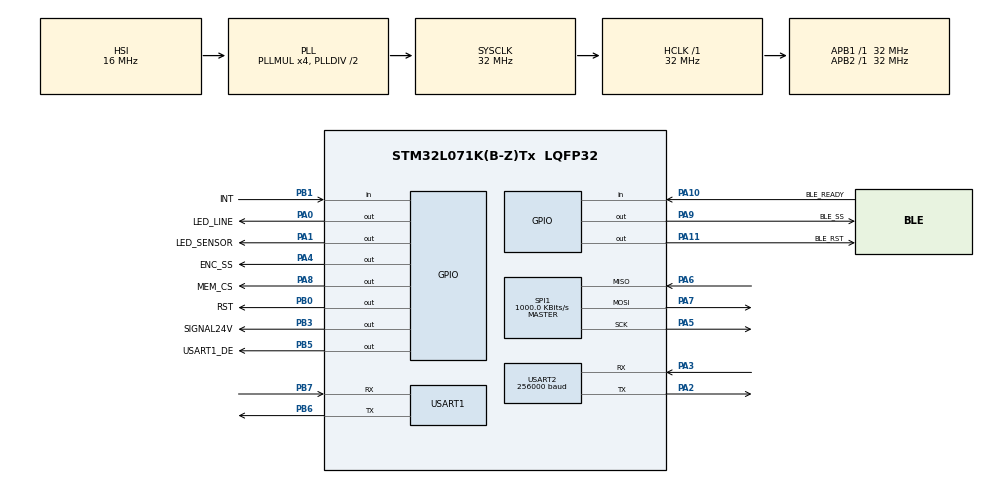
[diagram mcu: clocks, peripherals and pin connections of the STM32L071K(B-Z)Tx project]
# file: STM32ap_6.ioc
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ADC.ContinuousConvMode=ENABLE
ADC.DMAContinuousRequests=DISABLE
ADC.DiscontinuousConvMode=DISABLE
ADC.EOCSelection=ADC_EOC_SEQ_CONV
ADC.LowPowerAutoPowerOff=DISABLE
ADC.LowPowerAutoWait=DISABLE
ADC.LowPowerFrequencyMode=DISABLE
ADC.SamplingTime=ADC_SAMPLETIME_39CYCLES_5
ADC.ScanConvMode=ADC_SCAN_DIRECTION_FORWARD
IWDG.Prescaler=IWDG_PRESCALER_64
IWDG.Reload=3000
IWDG.Window=3000
Mcu.Family=STM32L0
Mcu.Name=STM32L071K(B-Z)Tx
Mcu.Package=LQFP32
NVIC.TIM2_IRQn=true\:0\:0\:false\:false\:true\:true\:true
NVIC.TIM6_IRQn=true\:0\:0\:false\:false\:true\:true\:true
NVIC.USART2_IRQn=true\:3\:0\:true\:false\:true\:true\:true
PA0.GPIO_Label=LED_LINE
PA0.Signal=GPIO_Output
PA1.GPIO_Label=LED_SENSOR
PA1.Signal=GPIO_Output
PA10.GPIO_Label=BLE_READY
PA10.GPIO_PuPd=GPIO_PULLUP
PA10.Signal=GPIO_Input
PA11.GPIO_Label=BLE_RST
PA11.Signal=GPIO_Output
PA13.Mode=Serial_Wire
PA13.Signal=SYS_SWDIO
PA14.Mode=Serial_Wire
PA14.Signal=SYS_SWCLK
PA2.Mode=Asynchronous
PA2.Signal=USART2_TX
PA3.Mode=Asynchronous
PA3.Signal=USART2_RX
PA4.GPIO_Label=ENC_SS
PA4.GPIO_PuPd=GPIO_PULLUP
PA4.PinState=GPIO_PIN_SET
PA4.Signal=GPIO_Output
PA5.Mode=Full_Duplex_Master
PA5.Signal=SPI1_SCK
PA6.Mode=Full_Duplex_Master
PA6.Signal=SPI1_MISO
PA7.Mode=Full_Duplex_Master
PA7.Signal=SPI1_MOSI
PA8.GPIO_Label=MEM_CS
PA8.GPIO_ModeDefaultOutputPP=GPIO_MODE_OUTPUT_PP
PA8.GPIO_PuPd=GPIO_PULLUP
PA8.PinState=GPIO_PIN_SET
PA8.Signal=GPIO_Output
PA9.GPIO_Label=BLE_SS
PA9.GPIO_PuPd=GPIO_PULLUP
PA9.PinState=GPIO_PIN_SET
PA9.Signal=GPIO_Output
PB0.GPIO_Label=RST
PB0.Signal=GPIO_Output
PB1.GPIO_Label=INT
PB1.Signal=GPIO_Input
PB3.GPIO_Label=SIGNAL24V
PB3.Signal=GPIO_Output
PB5.GPIO_Label=USART1_DE
PB5.Signal=GPIO_Output
PB6.Mode=Asynchronous
PB6.Signal=USART1_TX
PB7.Mode=Asynchronous
PB7.Signal=USART1_RX
ProjectManager.HeapSize=0x200
ProjectManager.StackSize=0x400
ProjectManager.TargetToolchain=Makefile
RCC.AHBFreq_Value=32000000
RCC.APB1Freq_Value=32000000
RCC.APB1TimFreq_Value=32000000
RCC.APB2Freq_Value=32000000
RCC.APB2TimFreq_Value=32000000
RCC.HCLKFreq_Value=32000000
RCC.HSI16_VALUE=16000000
RCC.HSI_VALUE=16000000
RCC.LSE_VALUE=32768
RCC.MSI_VALUE=2097000
RCC.PLLMUL=RCC_PLLMUL_4
RCC.SYSCLKFreq_VALUE=32000000
RCC.SYSCLKSource=RCC_SYSCLKSOURCE_PLLCLK
RCC.VCOOutputFreq_Value=64000000
SPI1.BaudRatePrescaler=SPI_BAUDRATEPRESCALER_32
SPI1.CalculateBaudRate=1000.0 KBits/s
SPI1.Direction=SPI_DIRECTION_2LINES
SPI1.Mode=SPI_MODE_MASTER
SPI1.VirtualType=VM_MASTER
TIM2.Period=32000-1
TIM2.Prescaler=1000-1
TIM6.Period=1000-1
TIM6.Prescaler=32-1
USART1.VirtualMode-Asynchronous=VM_ASYNC
USART2.BaudRate=256000
USART2.VirtualMode-Asynchronous=VM_ASYNC
VP_ADC_TempSens_Input.Mode=IN-TempSens
VP_ADC_Vref_Input.Mode=IN-Vrefint
VP_IWDG_VS_IWDG.Mode=IWDG_Activate
VP_TIM2_VS_ClockSourceINT.Mode=Internal
VP_TIM6_VS_ClockSourceINT.Mode=Enable_Timer
board=custom

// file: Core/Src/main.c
/* USER CODE BEGIN Header */
/**
  ******************************************************************************
  * @file           : main.c
  * @brief          : Main program body
  ******************************************************************************
  * @attention
  *
  * <h2><center>&copy; Copyright (c) 2021 STMicroelectronics.
  * All rights reserved.</center></h2>
  *
  * This software component is licensed by ST under BSD 3-Clause license,
  * the "License"; You may not use this file except in compliance with the
  * License. You may obtain a copy of the License at:
  *                        opensource.org/licenses/BSD-3-Clause
  *
  ******************************************************************************
  */
/* USER CODE END Header */
#include "main.h"

/* USER CODE BEGIN Includes */
#include "ETH/Internet.h"
#include "API/AttenderAPI.h"
#include "buffer/CoderBuffer.h"
#include "buffer/aes.h"
#include "buffer/base64.h"
#include "JSON/cJSON.h"
#include "memory/memory.h"
#include "programmer/programmer.h"
#include "Sensor.h"
/* USER CODE END Includes */

/* USER CODE BEGIN PTD */
#define smartios_versionCode "v.A.kor.0.117"
#define smartios_versionDate "20220728220830"

const char* SMARTIOS_VER  = smartios_versionCode;
const char* SMARTIOS_DATE = smartios_versionDate;

// first settings
Date nowDate;
cJSON* saveDataJSON;
SavedData saveData;

#define USE_JSONSTR_RECOVER

#ifdef USE_JSONSTR_RECOVER
const char * jsonstr =
  "{"
  "\"apcode\": 0,"
  "\"apip\": \"\","
  "\"domain\": \"\","
  "\"netmask\": \"\","
  "\"gwip\": \"\","
  "\"dnsip\": \"\","
  "\"dns2ip\": \"\","
  "\"useyn\": true,"
  "\"dist\": 0,"
  "\"idxClient\": 1,"
  "\"isDHCP\": true,"
  "\"IdentifyDistance\": 100,"
  "\"BeaconTimeout\": 20,"
  "\"ServerURL\": \"\","
  "\"dbuglog\": false,"
  "\"reset\": 0,"
  "\"enableOutDetecting\": 0,"
  "\"ipcdInterval\": 1800,"
  "\"date\": \"20210610172213\","
  "\"pgver\": \""smartios_versionCode"\","
  "\"pgverdate\": \""smartios_versionDate"\","
  "\"CDMURL\": \"\","
  "\"aes_no\": 0"
  "}";
//Adding "val" into SavedData
//1. add "val" into jsonstr.
//2. add "val" into struct SavedData and into struct SaveDataUpdate
//3. add 'parsing "val" element' code into of MEM_make_SavedData
//4. Modify MEM_ModifyMemory at two places
//  4-1. add statement if aes_no is nullptr.
//  4-2. add one line near the array of cJSON_ReplaceItemInObject.
//5. test it!
#endif

SensorList sensorlist[SENSORLIST_LEN];
/* USER CODE END PTD */

ADC_HandleTypeDef hadc;

IWDG_HandleTypeDef hiwdg;

SPI_HandleTypeDef hspi1;

TIM_HandleTypeDef htim2;
TIM_HandleTypeDef htim6;

UART_HandleTypeDef huart1;
UART_HandleTypeDef huart2;

void SystemClock_Config(void);
static void MX_GPIO_Init(void);
static void MX_SPI1_Init(void);
static void MX_USART1_UART_Init(void);
static void MX_USART2_UART_Init(void);
static void MX_ADC_Init(void);
static void MX_IWDG_Init(void);
static void MX_TIM2_Init(void);
static void MX_TIM6_Init(void);

/* USER CODE BEGIN 0 */
BOOL isCountNetWDG = FALSE;
uint32_t countNetWDG = 0;
uint32_t ipcdTimer;
uint32_t netCheckTimer;
uint32_t printtimer;
uint32_t SIGNAL_24V_Timer; BOOL isSIGNAL24V_Active = FALSE;
SOCKET debug_udp = UDP_INVALID_SOCKET;
IP_ADDR debug_udpIP = {255,255,255,255};
MAC_ADDR myMAC;

extern int IPCDResultCode;
int mode = 0;

uint8_t AESKeyBuffer[48] = {0,};
/* USER CODE END 0 */

int main(void)
{

  /* MCU Configuration--------------------------------------------------------*/

  /* Reset of all peripherals, Initializes the Flash interface and the Systick. */
  HAL_Init();

  /* Configure the system clock */
  SystemClock_Config();

  /* USER CODE BEGIN SysInit */
  calibrate();
  Addstr_SystemInitalize();
  /* USER CODE END SysInit */

  /* Initialize all configured peripherals */
  MX_GPIO_Init();
  MX_SPI1_Init();
  MX_USART1_UART_Init();
  MX_USART2_UART_Init();
  MX_ADC_Init();
  MX_IWDG_Init();
  MX_TIM2_Init();
  MX_TIM6_Init();
  /* USER CODE BEGIN 2 */
  UARTReceiver_init();
  printf("booting...\n");

  extern BOOL isOnline;
  isOnline = -2;

  HAL_GPIO_WritePin(MEM_CS_GPIO_Port,MEM_CS_Pin,GPIO_PIN_SET);
  HAL_GPIO_WritePin(BLE_SS_GPIO_Port,BLE_SS_Pin,GPIO_PIN_SET);
  HAL_GPIO_WritePin(ENC_SS_GPIO_Port,ENC_SS_Pin,GPIO_PIN_SET);
  HAL_GPIO_WritePin(BLE_RST_GPIO_Port,BLE_RST_Pin,GPIO_PIN_RESET);
  HAL_Delay(50);
  HAL_GPIO_WritePin(BLE_RST_GPIO_Port,BLE_RST_Pin,GPIO_PIN_SET);
  HAL_GPIO_WritePin(SIGNAL24V_GPIO_Port,SIGNAL24V_Pin,TRUE);

  printf("Starting SMARTIOS AP..\n");

  if(__HAL_RCC_GET_FLAG(RCC_FLAG_IWDGRST))
  {
    printf("This reboot is WATCHDOG Reset!!\n");
    __HAL_RCC_CLEAR_RESET_FLAGS();
  }

  memset(sensorlist,0,sizeof(sensorlist));

  FLASH_MEM_Init();

  printf("----------------------------------------------\n");
  printf("Firmware Verson : %s\n",saveData.pgver ? saveData.pgver : "null");
  printf("Firmware Date   : %s\n",Convert_Date2Str(saveData.pgverdate));
  printf("----------------------------------------------\n");

  HAL_TIM_Base_Start_IT(&htim6);
  HAL_TIM_Base_Start_IT(&htim2);

  extern uint8_t UUID[16];

  myMAC = MACSet(0x12,0x23,0x34,(UUID[0]+UUID[3]+UUID[6]+UUID[9]+UUID[12]+UUID[15])&0xFF,(UUID[1]+UUID[4]+UUID[7]+UUID[10]+UUID[13])&0xFF,(UUID[2]+UUID[5]+UUID[8]+UUID[11]+UUID[14]) & 0xFF);

  //if it is blocked here, Please make SPI lines stablized. It may stuck during the SPI progress.
  if(saveData.isDHCP)printf("Starting DHCP...\n");
  EC_Init(saveData.apip,saveData.netmask,saveData.gwip,myMAC,saveData.isDHCP);
  //EC_Init(IPSet(192,168,0,28),IPSet(255,255,255,255),IPSet(192,168,0,1),myMAC,0);

  ipcdTimer = HAL_GetTick() - saveData.ipcdInterval*1000;
  countNetWDG = HAL_GetTick();

  checkConnectivity(TRUE);

  /* USER CODE END 2 */

  /* Infinite loop */
  /* USER CODE BEGIN WHILE */
  while (1)
  {
    yield();
    if(CheckIfOnline() != TRUE)continue;

    Debug("system start!\n");

    checkConnectivity(TRUE);
    Start_DebugUDP();
    while (nic_linked_and_ip_address_valid && isOnline)//retry internet.
    {
      if(saveData.apcode == 0)//is APCode0 Mode(if data lost)
        Main_APCode0();
      else
      {
        FetchBLEData();
        SensorListProcess();

        //IPCD Timer
        if(HAL_GetTick() - ipcdTimer > saveData.ipcdInterval*1000)
          Timer_ipcd();

        //Print Timer
        if(HAL_GetTick() - printtimer > 1000*60*5) //5min(300s) timer
          Timer_print();

        //NetChecker Timer
        if(HAL_GetTick() - netCheckTimer > 1000*10){
          netCheckTimer = HAL_GetTick();
          checkConnectivity(TRUE);
        }

        //Door Control
        if(HAL_GetTick() < SIGNAL_24V_Timer && !isSIGNAL24V_Active){
          isSIGNAL24V_Active = TRUE;
          HAL_GPIO_WritePin(SIGNAL24V_GPIO_Port,SIGNAL24V_Pin,FALSE);//ON
        }
        else if(HAL_GetTick() > SIGNAL_24V_Timer && isSIGNAL24V_Active){
          isSIGNAL24V_Active = FALSE;
          HAL_GPIO_WritePin(SIGNAL24V_GPIO_Port,SIGNAL24V_Pin,TRUE);//OFF
        }

        if(IPCDResultCode==0 || IPCDResultCode==3)
        {
          API_ipcdRequest(IPCDResultCode);
          IPCDResultCode = 1;//to normal state
        }

      }
    /* USER CODE END WHILE */

    /* USER CODE BEGIN 3 */
      //HAL_IWDG_Refresh(&hiwdg);
      yield();
      GetDebugRx();
    }
    End_DebugUDP();

    checkConnectivity(TRUE);
    countNetWDG = HAL_GetTick();//exit loop
  }
  /* USER CODE END 3 */
}

void SystemClock_Config(void)
{
  RCC_OscInitTypeDef RCC_OscInitStruct = {0};
  RCC_ClkInitTypeDef RCC_ClkInitStruct = {0};
  RCC_PeriphCLKInitTypeDef PeriphClkInit = {0};

  /** Configure the main internal regulator output voltage
  */
  __HAL_PWR_VOLTAGESCALING_CONFIG(PWR_REGULATOR_VOLTAGE_SCALE1);
  /** Initializes the RCC Oscillators according to the specified parameters
  * in the RCC_OscInitTypeDef structure.
  */
  RCC_OscInitStruct.OscillatorType = RCC_OSCILLATORTYPE_HSI|RCC_OSCILLATORTYPE_LSI;
  RCC_OscInitStruct.HSIState = RCC_HSI_ON;
  RCC_OscInitStruct.HSICalibrationValue = RCC_HSICALIBRATION_DEFAULT;
  RCC_OscInitStruct.LSIState = RCC_LSI_ON;
  RCC_OscInitStruct.PLL.PLLState = RCC_PLL_ON;
  RCC_OscInitStruct.PLL.PLLSource = RCC_PLLSOURCE_HSI;
  RCC_OscInitStruct.PLL.PLLMUL = RCC_PLLMUL_4;
  RCC_OscInitStruct.PLL.PLLDIV = RCC_PLLDIV_2;
  if (HAL_RCC_OscConfig(&RCC_OscInitStruct) != HAL_OK)
  {
    Error_Handler();
  }
  /** Initializes the CPU, AHB and APB buses clocks
  */
  RCC_ClkInitStruct.ClockType = RCC_CLOCKTYPE_HCLK|RCC_CLOCKTYPE_SYSCLK
                              |RCC_CLOCKTYPE_PCLK1|RCC_CLOCKTYPE_PCLK2;
  RCC_ClkInitStruct.SYSCLKSource = RCC_SYSCLKSOURCE_PLLCLK;
  RCC_ClkInitStruct.AHBCLKDivider = RCC_SYSCLK_DIV1;
  RCC_ClkInitStruct.APB1CLKDivider = RCC_HCLK_DIV1;
  RCC_ClkInitStruct.APB2CLKDivider = RCC_HCLK_DIV1;

  if (HAL_RCC_ClockConfig(&RCC_ClkInitStruct, FLASH_LATENCY_1) != HAL_OK)
  {
    Error_Handler();
  }
  PeriphClkInit.PeriphClockSelection = RCC_PERIPHCLK_USART1|RCC_PERIPHCLK_USART2;
  PeriphClkInit.Usart1ClockSelection = RCC_USART1CLKSOURCE_PCLK2;
  PeriphClkInit.Usart2ClockSelection = RCC_USART2CLKSOURCE_PCLK1;
  if (HAL_RCCEx_PeriphCLKConfig(&PeriphClkInit) != HAL_OK)
  {
    Error_Handler();
  }
}

static void MX_ADC_Init(void)
{

  ADC_ChannelConfTypeDef sConfig = {0};

  /** Configure the global features of the ADC (Clock, Resolution, Data Alignment and number of conversion)
  */
  hadc.Instance = ADC1;
  hadc.Init.OversamplingMode = DISABLE;
  hadc.Init.ClockPrescaler = ADC_CLOCK_SYNC_PCLK_DIV2;
  hadc.Init.Resolution = ADC_RESOLUTION_12B;
  hadc.Init.SamplingTime = ADC_SAMPLETIME_39CYCLES_5;
  hadc.Init.ScanConvMode = ADC_SCAN_DIRECTION_FORWARD;
  hadc.Init.DataAlign = ADC_DATAALIGN_RIGHT;
  hadc.Init.ContinuousConvMode = ENABLE;
  hadc.Init.DiscontinuousConvMode = DISABLE;
  hadc.Init.ExternalTrigConvEdge = ADC_EXTERNALTRIGCONVEDGE_NONE;
  hadc.Init.ExternalTrigConv = ADC_SOFTWARE_START;
  hadc.Init.DMAContinuousRequests = DISABLE;
  hadc.Init.EOCSelection = ADC_EOC_SEQ_CONV;
  hadc.Init.Overrun = ADC_OVR_DATA_PRESERVED;
  hadc.Init.LowPowerAutoWait = DISABLE;
  hadc.Init.LowPowerFrequencyMode = DISABLE;
  hadc.Init.LowPowerAutoPowerOff = DISABLE;
  if (HAL_ADC_Init(&hadc) != HAL_OK)
  {
    Error_Handler();
  }
  /** Configure for the selected ADC regular channel to be converted.
  */
  sConfig.Channel = ADC_CHANNEL_TEMPSENSOR;
  sConfig.Rank = ADC_RANK_CHANNEL_NUMBER;
  if (HAL_ADC_ConfigChannel(&hadc, &sConfig) != HAL_OK)
  {
    Error_Handler();
  }
  /** Configure for the selected ADC regular channel to be converted.
  */
  sConfig.Channel = ADC_CHANNEL_VREFINT;
  if (HAL_ADC_ConfigChannel(&hadc, &sConfig) != HAL_OK)
  {
    Error_Handler();
  }

}

static void MX_IWDG_Init(void)
{

  hiwdg.Instance = IWDG;
  hiwdg.Init.Prescaler = IWDG_PRESCALER_64;
  hiwdg.Init.Window = 3000;
  hiwdg.Init.Reload = 3000;
  if (HAL_IWDG_Init(&hiwdg) != HAL_OK)
  {
    Error_Handler();
  }

}

static void MX_SPI1_Init(void)
{

  /* SPI1 parameter configuration*/
  hspi1.Instance = SPI1;
  hspi1.Init.Mode = SPI_MODE_MASTER;
  hspi1.Init.Direction = SPI_DIRECTION_2LINES;
  hspi1.Init.DataSize = SPI_DATASIZE_8BIT;
  hspi1.Init.CLKPolarity = SPI_POLARITY_LOW;
  hspi1.Init.CLKPhase = SPI_PHASE_1EDGE;
  hspi1.Init.NSS = SPI_NSS_SOFT;
  hspi1.Init.BaudRatePrescaler = SPI_BAUDRATEPRESCALER_32;
  hspi1.Init.FirstBit = SPI_FIRSTBIT_MSB;
  hspi1.Init.TIMode = SPI_TIMODE_DISABLE;
  hspi1.Init.CRCCalculation = SPI_CRCCALCULATION_DISABLE;
  hspi1.Init.CRCPolynomial = 7;
  if (HAL_SPI_Init(&hspi1) != HAL_OK)
  {
    Error_Handler();
  }

}

static void MX_TIM2_Init(void)
{

  TIM_ClockConfigTypeDef sClockSourceConfig = {0};
  TIM_MasterConfigTypeDef sMasterConfig = {0};

  htim2.Instance = TIM2;
  htim2.Init.Prescaler = 1000-1;
  htim2.Init.CounterMode = TIM_COUNTERMODE_UP;
  htim2.Init.Period = 32000-1;
  htim2.Init.ClockDivision = TIM_CLOCKDIVISION_DIV1;
  htim2.Init.AutoReloadPreload = TIM_AUTORELOAD_PRELOAD_DISABLE;
  if (HAL_TIM_Base_Init(&htim2) != HAL_OK)
  {
    Error_Handler();
  }
  sClockSourceConfig.ClockSource = TIM_CLOCKSOURCE_INTERNAL;
  if (HAL_TIM_ConfigClockSource(&htim2, &sClockSourceConfig) != HAL_OK)
  {
    Error_Handler();
  }
  sMasterConfig.MasterOutputTrigger = TIM_TRGO_RESET;
  sMasterConfig.MasterSlaveMode = TIM_MASTERSLAVEMODE_DISABLE;
  if (HAL_TIMEx_MasterConfigSynchronization(&htim2, &sMasterConfig) != HAL_OK)
  {
    Error_Handler();
  }

}

static void MX_TIM6_Init(void)
{

  TIM_MasterConfigTypeDef sMasterConfig = {0};

  htim6.Instance = TIM6;
  htim6.Init.Prescaler = 32-1;
  htim6.Init.CounterMode = TIM_COUNTERMODE_UP;
  htim6.Init.Period = 1000-1;
  htim6.Init.AutoReloadPreload = TIM_AUTORELOAD_PRELOAD_DISABLE;
  if (HAL_TIM_Base_Init(&htim6) != HAL_OK)
  {
    Error_Handler();
  }
  sMasterConfig.MasterOutputTrigger = TIM_TRGO_RESET;
  sMasterConfig.MasterSlaveMode = TIM_MASTERSLAVEMODE_DISABLE;
  if (HAL_TIMEx_MasterConfigSynchronization(&htim6, &sMasterConfig) != HAL_OK)
  {
    Error_Handler();
  }

}

static void MX_USART1_UART_Init(void)
{

  huart1.Instance = USART1;
  huart1.Init.BaudRate = 115200;
  huart1.Init.WordLength = UART_WORDLENGTH_8B;
  huart1.Init.StopBits = UART_STOPBITS_1;
  huart1.Init.Parity = UART_PARITY_NONE;
  huart1.Init.Mode = UART_MODE_TX_RX;
  huart1.Init.HwFlowCtl = UART_HWCONTROL_NONE;
  huart1.Init.OverSampling = UART_OVERSAMPLING_16;
  huart1.Init.OneBitSampling = UART_ONE_BIT_SAMPLE_DISABLE;
  huart1.AdvancedInit.AdvFeatureInit = UART_ADVFEATURE_NO_INIT;
  if (HAL_UART_Init(&huart1) != HAL_OK)
  {
    Error_Handler();
  }

}

static void MX_USART2_UART_Init(void)
{

  huart2.Instance = USART2;
  huart2.Init.BaudRate = 256000;
  huart2.Init.WordLength = UART_WORDLENGTH_8B;
  huart2.Init.StopBits = UART_STOPBITS_1;
  huart2.Init.Parity = UART_PARITY_NONE;
  huart2.Init.Mode = UART_MODE_TX_RX;
  huart2.Init.HwFlowCtl = UART_HWCONTROL_NONE;
  huart2.Init.OverSampling = UART_OVERSAMPLING_16;
  huart2.Init.OneBitSampling = UART_ONE_BIT_SAMPLE_DISABLE;
  huart2.AdvancedInit.AdvFeatureInit = UART_ADVFEATURE_NO_INIT;
  if (HAL_UART_Init(&huart2) != HAL_OK)
  {
    Error_Handler();
  }

}

static void MX_GPIO_Init(void)
{
  GPIO_InitTypeDef GPIO_InitStruct = {0};

  /* GPIO Ports Clock Enable */
  __HAL_RCC_GPIOA_CLK_ENABLE();
  __HAL_RCC_GPIOB_CLK_ENABLE();

  /*Configure GPIO pin Output Level */
  HAL_GPIO_WritePin(GPIOA, LED_LINE_Pin|LED_SENSOR_Pin|BLE_RST_Pin, GPIO_PIN_RESET);

  /*Configure GPIO pin Output Level */
  HAL_GPIO_WritePin(GPIOA, ENC_SS_Pin|MEM_CS_Pin|BLE_SS_Pin, GPIO_PIN_SET);

  /*Configure GPIO pin Output Level */
  HAL_GPIO_WritePin(GPIOB, RST_Pin|SIGNAL24V_Pin|USART1_DE_Pin, GPIO_PIN_RESET);

  /*Configure GPIO pins : LED_LINE_Pin LED_SENSOR_Pin BLE_RST_Pin */
  GPIO_InitStruct.Pin = LED_LINE_Pin|LED_SENSOR_Pin|BLE_RST_Pin;
  GPIO_InitStruct.Mode = GPIO_MODE_OUTPUT_PP;
  GPIO_InitStruct.Pull = GPIO_NOPULL;
  GPIO_InitStruct.Speed = GPIO_SPEED_FREQ_LOW;
  HAL_GPIO_Init(GPIOA, &GPIO_InitStruct);

  /*Configure GPIO pins : ENC_SS_Pin MEM_CS_Pin BLE_SS_Pin */
  GPIO_InitStruct.Pin = ENC_SS_Pin|MEM_CS_Pin|BLE_SS_Pin;
  GPIO_InitStruct.Mode = GPIO_MODE_OUTPUT_PP;
  GPIO_InitStruct.Pull = GPIO_PULLUP;
  GPIO_InitStruct.Speed = GPIO_SPEED_FREQ_LOW;
  HAL_GPIO_Init(GPIOA, &GPIO_InitStruct);

  /*Configure GPIO pins : RST_Pin SIGNAL24V_Pin USART1_DE_Pin */
  GPIO_InitStruct.Pin = RST_Pin|SIGNAL24V_Pin|USART1_DE_Pin;
  GPIO_InitStruct.Mode = GPIO_MODE_OUTPUT_PP;
  GPIO_InitStruct.Pull = GPIO_NOPULL;
  GPIO_InitStruct.Speed = GPIO_SPEED_FREQ_LOW;
  HAL_GPIO_Init(GPIOB, &GPIO_InitStruct);

  /*Configure GPIO pin : INT_Pin */
  GPIO_InitStruct.Pin = INT_Pin;
  GPIO_InitStruct.Mode = GPIO_MODE_INPUT;
  GPIO_InitStruct.Pull = GPIO_NOPULL;
  HAL_GPIO_Init(INT_GPIO_Port, &GPIO_InitStruct);

  /*Configure GPIO pin : BLE_READY_Pin */
  GPIO_InitStruct.Pin = BLE_READY_Pin;
  GPIO_InitStruct.Mode = GPIO_MODE_INPUT;
  GPIO_InitStruct.Pull = GPIO_PULLUP;
  HAL_GPIO_Init(BLE_READY_GPIO_Port, &GPIO_InitStruct);

}

/* USER CODE BEGIN 4 */
void User_DeInit()
{
  HAL_ADC_DeInit(&hadc);
  HAL_SPI_DeInit(&hspi1);
  HAL_TIM_Base_DeInit(&htim2);
  HAL_TIM_Base_DeInit(&htim6);
  HAL_UART_DeInit(&huart1);
  HAL_UART_DeInit(&huart2);
  HAL_GPIO_DeInit(GPIOA, LED_LINE_Pin|LED_SENSOR_Pin|BLE_RST_Pin);
  HAL_GPIO_DeInit(GPIOA, ENC_SS_Pin|MEM_CS_Pin|BLE_SS_Pin);
  HAL_GPIO_DeInit(GPIOB, RST_Pin|GPIO_PIN_3);
  HAL_GPIO_DeInit(INT_GPIO_Port, INT_Pin);
  HAL_GPIO_DeInit(BLE_READY_GPIO_Port, BLE_READY_Pin);
}

int _write(int file, char* p, int len)
{
  HAL_UART_Transmit(&huart2,(uint8_t*)p,len,1000);
  debugUDP(p,len-1);
  return len;
}
uint32_t rando()
{
  int t = HAL_GetTick();
  return ((t&0x00FF)<<16 | (t&0xFF00)>>16) * ((t&0x0F)<<8 | (t&0xF0)>>8) - t;
}
void resetNetwork()
{
  extern BOOL isOnline;
  isOnline = FALSE;
  nic_is_linked = FALSE;
}
uint8_t* getKeyIv(int code){
  if(MEM_NormalRead(Key_Start+code*48,AESKeyBuffer,48)==FAILED){
    printf("Key read CORRUPT.\n");
    return NULL;
  }
  return AESKeyBuffer;
}

void FLASH_MEM_Init()
{
  //Initalizing the FLASH memory
  if(MEM_INIT()==FAILED)system_break();

  //Reading flash data length
  int pgmlen = 0;
  MEM_NormalRead(0x000000,&pgmlen,4);
  if(pgmlen <= 0) flash_reset();

  //Reading flash data
  if(Read_SaveData(&saveDataJSON))
  {
    printf("important!! #1 Reading Configuration failed.\n");
    //system_break();

    if(Read_SaveData(&saveDataJSON)==FAILED)
    {
      #ifdef USE_JSONSTR_RECOVER
      flash_reset();
      #else
      system_break();
      #endif
    }
  }
  MEM_make_SavedData(&saveData,saveDataJSON);

  //prints flash data
  MEM_Print(0,256);

  //check program version
  if(shouldUpdateProgramVersion())
    updateProgramVersion();

  //check APCode
  if(checkAPCodeisValid())
    flash_reset();

  //Print FLASH data to string
  char* str = cJSON_Print(saveDataJSON);
  if(str==0)
  {
    MEM_Print(0,(pgmlen/16 + 1) >> 16);
    system_break();
  }
  printf("savedData : %s\n",str);
  free(str);

  uint8_t pgRunningFlag = 0;
  MEM_NormalRead(0x008000,&pgRunningFlag,1);
  if(pgRunningFlag != 0xAA){
    printf("updating PGFlag %02X->%02X\n",pgRunningFlag,0xAA);
    pgRunningFlag = 0xAA;
    MEM_EraseSector(0x008000);
    MEM_Program(0x008000,pgRunningFlag,1);
  }

}
BOOL shouldUpdateProgramVersion(){
  return memcmp(SMARTIOS_VER,saveData.pgver,strlen(SMARTIOS_VER))!=0 || Date2Int(saveData.pgverdate) != Date2Int(Convert_Str2Date(SMARTIOS_DATE));
}
void updateProgramVersion()
{
  SaveDataUpdate update;
  Date pgverdate = Convert_Str2Date(SMARTIOS_DATE);
  memset(&update,0,sizeof(SaveDataUpdate));
  update.pgver = SMARTIOS_VER;
  update.pgverdate = &pgverdate;
  MEM_ModifyMemory(&update);
}
BOOL checkAPCodeisValid(){
  return saveData.apcode > 1000000 || saveData.apcode < 0;
}
void flash_reset(){
  //invalid data in EEPROM
  #ifdef USE_JSONSTR_RECOVER
  printf("re-write the flash...\n");
  cJSON *json = cJSON_Parse(jsonstr);

  if(Store_SaveData(json) != SUCCEED)
    system_break();
  cJSON_Delete(json);
  #endif

  if(Read_SaveData(&saveDataJSON)==FAILED){
    printf("reading FLASH after re-writing failed.\n");
    system_break();
  }
}
void system_break()
{
  printf("system break;\n");
  Error_Handler();
}

BOOL CheckIfOnline()
{
  if(HAL_GetTick() - countNetWDG > 30000)// processing Netdog
    process_Netdog();

  if(nic_is_linked == 0)return FALSE;
  if(nic_linked_and_ip_address_valid == 0)return FALSE;//retry internet.

  checkConnectivity(TRUE);
  waitwithYield(100);

  if(saveData.apcode == 0)
  {
    printf("apcode is zero. pass echo test phase.\n");
    return TRUE;
  }

  Result echo_res;
  for(int i=0;i<4;i++){
    echo_res = API_Echo();
    if(echo_res == SUCCEED)break;
    waitwithYield(500);
  }

  if(echo_res != SUCCEED)
  {
    printf("Echo attempt 4 of 4 failed.\n");
    resetNetwork();
  }

  return echo_res == SUCCEED;
}
void process_Netdog()
{
  resetNetwork();
  Debug("NET Reset!\n");
  EC_Init(saveData.apip,saveData.netmask,saveData.gwip,myMAC,saveData.isDHCP);
  countNetWDG = HAL_GetTick();
}

void Timer_print(){
  SensorList *row = &sensorlist[0];
  printf("[%dms]\n",HAL_GetTick());
  for(int i=0;i<SENSORLIST_LEN && row->idxUser != 0;i++)
  {
    if((HAL_GetTick() - row->beginTime) <= saveData.BeaconTimeout*1000)
    printf("Sensor[%d] : idx:%03d %s T:%08dms end:%05ds dist:%03.1fm hack:%05d io:%s needtosend:%d\n",i
      ,row->idxUser,row->isAlive?"Alive":"Dead" ,HAL_GetTick() - row->beginTime, (HAL_GetTick() - row->exitTime) /1000
      ,row->distance,row->hackingCode,!row->ioState?"in":"out",row->needtobeSended);

    row++;
  }
  printtimer = HAL_GetTick();
}
Result UpdateAesnoAsDefault()
{
  SaveDataUpdate update;
  memset(&update,0,sizeof(update));
  int aes_no = saveData.apcode % 10;
  update.aes_no = &aes_no;
  return MEM_ModifyMemory(&update);
}
void Timer_ipcd()
{
  if(API_ipcd() == FAILED)
  {
    static int ipcdFailCount;
    if((ipcdFailCount++)>6){
      ipcdFailCount = 0;
      ipcdTimer = HAL_GetTick();
      return;
    }

    yield();
    if(API_Echo() == FAILED)
    {
      checkConnectivity(TRUE);
      printf("IPCD Error\n");
      if(Send_Ping("www.google.com",4) == FAILED)
        resetNetwork();
    }

    ipcdTimer = HAL_GetTick() + saveData.ipcdInterval*1000 - 5000;//5 sec timeout
  }
  else ipcdTimer = HAL_GetTick();
}
void Main_APCode0()
{
  static int APCode0timer;
  if(HAL_GetTick() - APCode0timer > 750)
  {
    APCode0timer = HAL_GetTick();
    HAL_GPIO_TogglePin(LED_SENSOR_GPIO_Port,LED_SENSOR_Pin);//turn off and on LED.
    printf("Please connect to my IP: %s\n",Convert_IP2Str(our_ip_address));
  }
}

void Send_RS485(uint8_t * data)
{
  HAL_GPIO_WritePin(USART1_DE_GPIO_Port,USART1_DE_Pin,RESET);
  HAL_UART_Transmit(&huart1,"\02",1,100);
  HAL_UART_Transmit(&huart1,data,strlen(data),100);
  HAL_UART_Transmit(&huart1,"\03",1,100);
  HAL_GPIO_WritePin(USART1_DE_GPIO_Port,USART1_DE_Pin,SET);
}
/* USER CODE END 4 */

void Error_Handler(void)
{
  /* USER CODE BEGIN Error_Handler_Debug */
  /* User can add his own implementation to report the HAL error return state */
  __disable_irq();
  while (1)
  {
    HAL_GPIO_WritePin(LED_SENSOR_GPIO_Port,LED_SENSOR_Pin,GPIO_PIN_SET);
    HAL_GPIO_WritePin(LED_LINE_GPIO_Port,LED_LINE_Pin,GPIO_PIN_SET);
    up_udelay(1000*1000);

    HAL_GPIO_WritePin(LED_SENSOR_GPIO_Port,LED_SENSOR_Pin,GPIO_PIN_RESET);
    HAL_GPIO_WritePin(LED_LINE_GPIO_Port,LED_LINE_Pin,GPIO_PIN_RESET);
    up_udelay(1000*1000);
  }
  /* USER CODE END Error_Handler_Debug */
}

/************************ (C) COPYRIGHT STMicroelectronics *****END OF FILE****/
